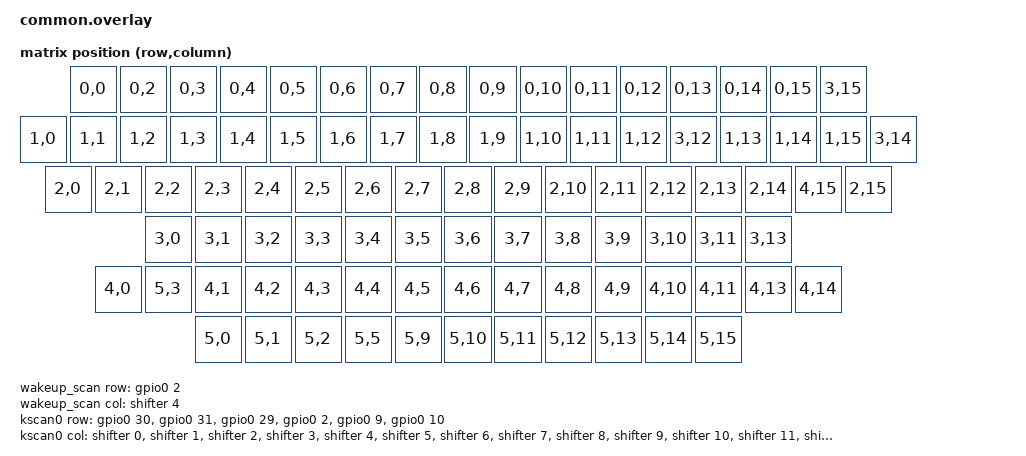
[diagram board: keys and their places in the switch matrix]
#include <dt-bindings/led/led.h>

&pinctrl {
    spi0_default: spi0_default {
        group1 {
            psels = <NRF_PSEL(SPIM_SCK,  1, 13)>,
                    <NRF_PSEL(SPIM_MOSI, 0, 28)>;
        };
    };

    spi0_sleep: spi0_sleep {
        group1 {
            psels = <NRF_PSEL(SPIM_SCK,  1, 13)>,
                    <NRF_PSEL(SPIM_MOSI, 0, 28)>;
            low-power-enable;
        };
    };

    spi3_default: spi3_default {
        group1 {
            psels = <NRF_PSEL(SPIM_MOSI, 0, 6)>;
        };
    };

    spi3_sleep: spi3_sleep {
        group1 {
            psels = <NRF_PSEL(SPIM_MOSI, 0, 6)>;
            low-power-enable;
        };
    };
};

&spi3 {
    compatible = "nordic,nrf-spim";
    status = "okay";

    pinctrl-0 = <&spi3_default>;
    pinctrl-1 = <&spi3_sleep>;
    pinctrl-names = "default", "sleep";

    led_strip: ws2812@0 {
        compatible = "worldsemi,ws2812-spi";

        /* SPI */
        reg = <0>; /* ignored, but necessary for SPI bindings */
        spi-max-frequency = <4000000>;

        /* WS2812 */
        chain-length = <1>; /* arbitrary; change at will */
        spi-one-frame = <0x70>;
        spi-zero-frame = <0x40>;

        color-mapping = <LED_COLOR_ID_GREEN LED_COLOR_ID_RED LED_COLOR_ID_BLUE>;
    };
};

&spi0 {
    compatible = "nordic,nrf-spim";
    pinctrl-0 = <&spi0_default>;
    pinctrl-1 = <&spi0_sleep>;
    pinctrl-names = "default", "sleep";
    status = "okay";
    cs-gpios = <&gpio1 0 GPIO_ACTIVE_LOW>;
    shifter: 595@0 {
        compatible = "zmk,gpio-595";
        status = "okay";
        gpio-controller;
        spi-max-frequency = <8000000>; //default 400K to 8M, for NRF52840, spim3 max 32M, other 8M
        reg = <0>;
        #gpio-cells = <2>;
        ngpios = <16>;
    };
};

/ {
    aliases {
        indicator-r = &led0;
        indicator-g = &led1;
        indicator-b = &led2;
    };
    leds {
        /* P1.11 R, P1.10 G, P0.03 B */
        compatible = "gpio-leds";
        status = "okay";
        led0: led_0 { gpios = <&gpio1 11 GPIO_ACTIVE_LOW>; }; //r
        led1: led_1 { gpios = <&gpio1 10 GPIO_ACTIVE_LOW>; }; //g
        led2: led_2 { gpios = <&gpio0  3 GPIO_ACTIVE_LOW>; }; //b
    };

    /* soft off */
    wakeup_scan: wakeup_scan {
        compatible = "zmk,kscan-gpio-matrix";
        wakeup-source;
        diode-direction = "col2row";
        // KEY F at RC(3,4)
        col-gpios = <&shifter 4 GPIO_ACTIVE_LOW>;
        row-gpios = <&gpio0  2 (GPIO_ACTIVE_LOW | GPIO_PULL_UP)>;
    };
    soft_off_wakers {
        compatible = "zmk,soft-off-wakeup-sources";
        wakeup-sources = <&wakeup_scan>;
    };
    /* end of soft-off */

    chosen {
        zmk,underglow = &led_strip;
        zmk,battery = &vbatt;
        zmk,kscan = &kscan0;
        zmk,physical-layout = &hhkb_layout;
    };

    vbatt: vbatt {
        compatible = "zmk,battery-voltage-divider";
        io-channels = <&adc 3>;
        output-ohms = <2000000>;
        full-ohms = <(2000000 + 820000)>;
    };

    kscan0: kscan_keys {
        compatible = "zmk,kscan-gpio-matrix";
        wakeup-source;
        diode-direction = "col2row";
        col-gpios
            = <&shifter 0 GPIO_ACTIVE_LOW>
            , <&shifter 1 GPIO_ACTIVE_LOW>
            , <&shifter 2 GPIO_ACTIVE_LOW>
            , <&shifter 3 GPIO_ACTIVE_LOW>
            , <&shifter 4 GPIO_ACTIVE_LOW>
            , <&shifter 5 GPIO_ACTIVE_LOW>
            , <&shifter 6 GPIO_ACTIVE_LOW>
            , <&shifter 7 GPIO_ACTIVE_LOW>
            , <&shifter 8 GPIO_ACTIVE_LOW>
            , <&shifter 9 GPIO_ACTIVE_LOW>
            , <&shifter 10 GPIO_ACTIVE_LOW>
            , <&shifter 11 GPIO_ACTIVE_LOW>
            , <&shifter 12 GPIO_ACTIVE_LOW>
            , <&shifter 13 GPIO_ACTIVE_LOW>
            , <&shifter 14 GPIO_ACTIVE_LOW>
            , <&shifter 15 GPIO_ACTIVE_LOW>
            ;
        
        row-gpios
            = <&gpio0 30 (GPIO_ACTIVE_LOW | GPIO_PULL_UP)>
            , <&gpio0 31 (GPIO_ACTIVE_LOW | GPIO_PULL_UP)>
            , <&gpio0 29 (GPIO_ACTIVE_LOW | GPIO_PULL_UP)>
            , <&gpio0  2 (GPIO_ACTIVE_LOW | GPIO_PULL_UP)>
            , <&gpio0  9 (GPIO_ACTIVE_LOW | GPIO_PULL_UP)>
            , <&gpio0 10 (GPIO_ACTIVE_LOW | GPIO_PULL_UP)>
            ;
    };
    
    matrix_transform_all: matrix_transform_all {
        compatible = "zmk,matrix-transform";
        columns = <16>;
        rows = <6>;
        map = <
//F fow
RC(0,0)         RC(0,2) RC(0,3) RC(0,4) RC(0,5)     RC(0,6) RC(0,7) RC(0,8) RC(0,9)     RC(0,10) RC(0,11) RC(0,12) RC(0,13)      RC(0,14) RC(0,15) RC(3,15)
//main
RC(1,0) RC(1,1) RC(1,2) RC(1,3) RC(1,4) RC(1,5) RC(1,6) RC(1,7) RC(1,8) RC(1,9) RC(1,10) RC(1,11) RC(1,12) RC(3,12) RC(1,13)     RC(1,14) RC(1,15) RC(3,14)
RC(2,0)   RC(2,1) RC(2,2) RC(2,3) RC(2,4) RC(2,5) RC(2,6) RC(2,7) RC(2,8) RC(2,9) RC(2,10) RC(2,11) RC(2,12)   RC(2,13)          RC(2,14) RC(4,15) RC(2,15) 
RC(3,0)     RC(3,1) RC(3,2) RC(3,3) RC(3,4) RC(3,5) RC(3,6) RC(3,7) RC(3,8) RC(3,9) RC(3,10) RC(3,11)        RC(3,13)
RC(4,0)   RC(5,3)   RC(4,1) RC(4,2) RC(4,3) RC(4,4) RC(4,5) RC(4,6) RC(4,7) RC(4,8) RC(4,9)    RC(4,10)      RC(4,11) RC(4,13)            RC(4,14)
RC(5,0)   RC(5,1)   RC(5,2)                      RC(5,5)                           RC(5,9)    RC(5,10)   RC(5,11)   RC(5,12)     RC(5,13) RC(5,14) RC(5,15)
        >;
    };
};
//Multi Layouts Defines
                    //                     w   h    x    y     rot    rx    ry
#define ROWF0_FIXED    <&key_physical_attrs 100 100    0    0       0     0     0> \
                    , <&key_physical_attrs 100 100  200    0       0     0     0> \
                    , <&key_physical_attrs 100 100  300    0       0     0     0> \
                    , <&key_physical_attrs 100 100  400    0       0     0     0> \
                    , <&key_physical_attrs 100 100  500    0       0     0     0> \
                    , <&key_physical_attrs 100 100  650    0       0     0     0> \
                    , <&key_physical_attrs 100 100  750    0       0     0     0> \
                    , <&key_physical_attrs 100 100  850    0       0     0     0> \
                    , <&key_physical_attrs 100 100  950    0       0     0     0> \
                    , <&key_physical_attrs 100 100 1100    0       0     0     0> \
                    , <&key_physical_attrs 100 100 1200    0       0     0     0> \
                    , <&key_physical_attrs 100 100 1300    0       0     0     0> \
                    , <&key_physical_attrs 100 100 1400    0       0     0     0> \
                    , <&key_physical_attrs 100 100 1525    0       0     0     0> \
                    , <&key_physical_attrs 100 100 1625    0       0     0     0> \
                    , <&key_physical_attrs 100 100 1725    0       0     0     0> \
                    , <&key_physical_attrs 100 100    0  150       0     0     0> \
                    , <&key_physical_attrs 100 100  100  150       0     0     0> \
                    , <&key_physical_attrs 100 100  200  150       0     0     0> \
                    , <&key_physical_attrs 100 100  300  150       0     0     0> \
                    , <&key_physical_attrs 100 100  400  150       0     0     0> \
                    , <&key_physical_attrs 100 100  500  150       0     0     0> \
                    , <&key_physical_attrs 100 100  600  150       0     0     0> \
                    , <&key_physical_attrs 100 100  700  150       0     0     0> \
                    , <&key_physical_attrs 100 100  800  150       0     0     0> \
                    , <&key_physical_attrs 100 100  900  150       0     0     0> \
                    , <&key_physical_attrs 100 100 1000  150       0     0     0> \
                    , <&key_physical_attrs 100 100 1100  150       0     0     0> \
                    , <&key_physical_attrs 100 100 1200  150       0     0     0> \

#define ROW0_BS_2U    <&key_physical_attrs 200 100 1300  150       0     0     0> \

#define ROW0_BS_1U    <&key_physical_attrs 100 100 1300  150       0     0     0> \
                    , <&key_physical_attrs 100 100 1400  150       0     0     0> \

#define ROW1_FIXED    <&key_physical_attrs 100 100 1525  150       0     0     0> \
                    , <&key_physical_attrs 100 100 1625  150       0     0     0> \
                    , <&key_physical_attrs 100 100 1725  150       0     0     0> \
                    , <&key_physical_attrs 150 100    0  250       0     0     0> \
                    , <&key_physical_attrs 100 100  150  250       0     0     0> \
                    , <&key_physical_attrs 100 100  250  250       0     0     0> \
                    , <&key_physical_attrs 100 100  350  250       0     0     0> \
                    , <&key_physical_attrs 100 100  450  250       0     0     0> \
                    , <&key_physical_attrs 100 100  550  250       0     0     0> \
                    , <&key_physical_attrs 100 100  650  250       0     0     0> \
                    , <&key_physical_attrs 100 100  750  250       0     0     0> \
                    , <&key_physical_attrs 100 100  850  250       0     0     0> \
                    , <&key_physical_attrs 100 100  950  250       0     0     0> \
                    , <&key_physical_attrs 100 100 1050  250       0     0     0> \
                    , <&key_physical_attrs 100 100 1150  250       0     0     0> \
                    , <&key_physical_attrs 100 100 1250  250       0     0     0> \

#define ROW1_ANSI     <&key_physical_attrs 150 100 1350  250       0     0     0> \

#define ROW1_ISO      <&key_physical_attrs 125 200 1375  250       0     0     0> \

#define ROW2_FIXED    <&key_physical_attrs 100 100 1525  250       0     0     0> \
                    , <&key_physical_attrs 100 100 1625  250       0     0     0> \
                    , <&key_physical_attrs 100 100 1725  250       0     0     0> \
                    , <&key_physical_attrs 175 100    0  350       0     0     0> \
                    , <&key_physical_attrs 100 100  175  350       0     0     0> \
                    , <&key_physical_attrs 100 100  275  350       0     0     0> \
                    , <&key_physical_attrs 100 100  375  350       0     0     0> \
                    , <&key_physical_attrs 100 100  475  350       0     0     0> \
                    , <&key_physical_attrs 100 100  575  350       0     0     0> \
                    , <&key_physical_attrs 100 100  675  350       0     0     0> \
                    , <&key_physical_attrs 100 100  775  350       0     0     0> \
                    , <&key_physical_attrs 100 100  875  350       0     0     0> \
                    , <&key_physical_attrs 100 100  975  350       0     0     0> \
                    , <&key_physical_attrs 100 100 1075  350       0     0     0> \
                    , <&key_physical_attrs 100 100 1175  350       0     0     0> \

#define ROW2_ANSI     <&key_physical_attrs 225 100 1275  350       0     0     0> \

#define ROW2_ISO      <&key_physical_attrs 100 100 1275  350       0     0     0> \

#define ROW3_ANSI     <&key_physical_attrs 225 100    0  450       0     0     0> \

#define ROW3_ISO      <&key_physical_attrs 125 100    0  450       0     0     0> \
                    , <&key_physical_attrs 100 100  125  450       0     0     0> \

#define ROW3_FIXED    <&key_physical_attrs 100 100  225  450       0     0     0> \
                    , <&key_physical_attrs 100 100  325  450       0     0     0> \
                    , <&key_physical_attrs 100 100  425  450       0     0     0> \
                    , <&key_physical_attrs 100 100  525  450       0     0     0> \
                    , <&key_physical_attrs 100 100  625  450       0     0     0> \
                    , <&key_physical_attrs 100 100  725  450       0     0     0> \
                    , <&key_physical_attrs 100 100  825  450       0     0     0> \
                    , <&key_physical_attrs 100 100  925  450       0     0     0> \
                    , <&key_physical_attrs 100 100 1025  450       0     0     0> \
                    , <&key_physical_attrs 100 100 1125  450       0     0     0> \

#define ROW3_RSFT_275U    <&key_physical_attrs 275 100 1225  450       0     0     0> \

#define ROW3_RSFT_175U    <&key_physical_attrs 175 100 1225  450       0     0     0> \
                        , <&key_physical_attrs 100 100 1400  450       0     0     0> \

#define ROW3_FIXED2   <&key_physical_attrs 100 100 1625  450       0     0     0> \

#define SPC_625U      <&key_physical_attrs 125 100    0  550       0     0     0> \
                    , <&key_physical_attrs 125 100  125  550       0     0     0> \
                    , <&key_physical_attrs 125 100  250  550       0     0     0> \
                    , <&key_physical_attrs 625 100  375  550       0     0     0> \
                    , <&key_physical_attrs 125 100 1000  550       0     0     0> \
                    , <&key_physical_attrs 125 100 1125  550       0     0     0> \
                    , <&key_physical_attrs 125 100 1250  550       0     0     0> \
                    , <&key_physical_attrs 125 100 1375  550       0     0     0> \

#define SPC_7U        <&key_physical_attrs 150 100    0  550       0     0     0> \
                    , <&key_physical_attrs 100 100  150  550       0     0     0> \
                    , <&key_physical_attrs 150 100  250  550       0     0     0> \
                    , <&key_physical_attrs 700 100  400  550       0     0     0> \
                    , <&key_physical_attrs 150 100 1100  550       0     0     0> \
                    , <&key_physical_attrs 100 100 1250  550       0     0     0> \
                    , <&key_physical_attrs 150 100 1350  550       0     0     0> \

#define SPC_WKL       <&key_physical_attrs 150 100    0  550       0     0     0> \
                    , <&key_physical_attrs 150 100  250  550       0     0     0> \
                    , <&key_physical_attrs 700 100  400  550       0     0     0> \
                    , <&key_physical_attrs 150 100 1100  550       0     0     0> \
                    , <&key_physical_attrs 150 100 1350  550       0     0     0> \

#define ROW4_FIXED    <&key_physical_attrs 100 100 1525  550       0     0     0> \
                    , <&key_physical_attrs 100 100 1625  550       0     0     0> \
                    , <&key_physical_attrs 100 100 1725  550       0     0     0> \


// Base Layout with all keys in matrix.
/ {
    chosen {
        zmk,physical-layout = &layout_all;
    };
    layout_all: layout_all {
        compatible = "zmk,physical-layout";
        display-name = "ALL_KEYS";
        transform = <&matrix_transform_all>;

        keys =    ROWF0_FIXED , ROW0_BS_1U
                , ROW1_FIXED , ROW1_ANSI
                , ROW2_FIXED , ROW2_ANSI //Enter
                , ROW3_ISO  , ROW3_FIXED , ROW3_RSFT_175U, ROW3_FIXED2
                , SPC_625U, ROW4_FIXED;
    };
};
